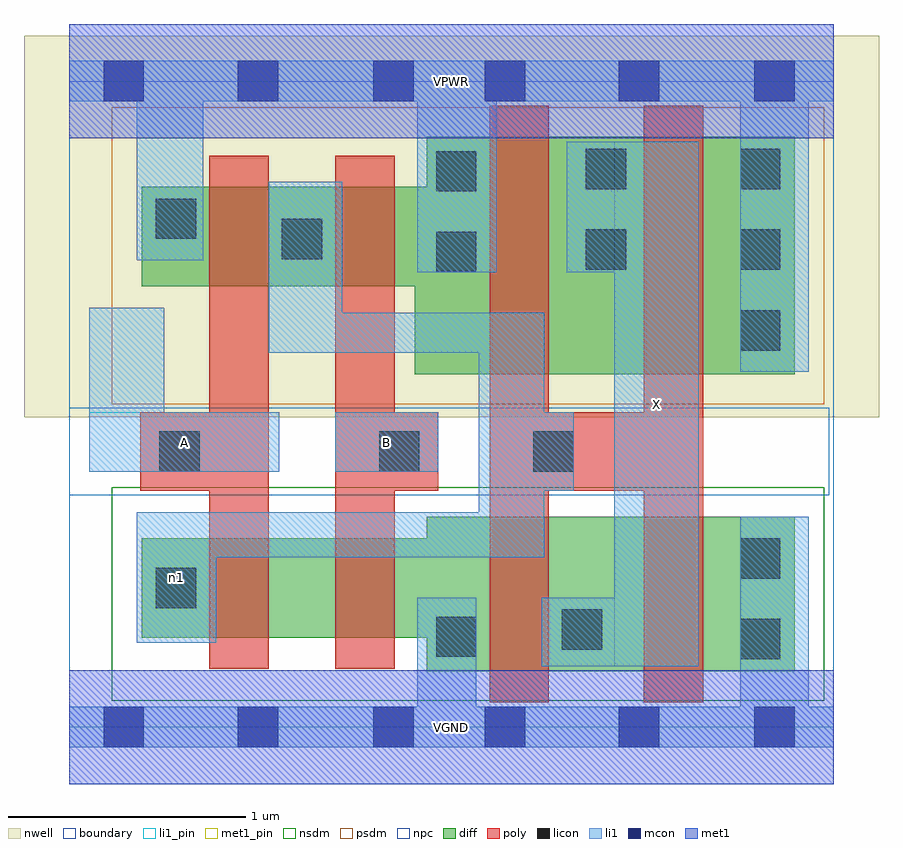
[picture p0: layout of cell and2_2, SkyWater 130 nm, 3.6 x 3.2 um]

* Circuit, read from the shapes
.subckt and2_2 A B VGND VPWR X n1
XM1 n2 A n1 VSUBS sky130_fd_pr__nfet_01v8 w=0.42 l=0.25
XM2 VGND B n2 VSUBS sky130_fd_pr__nfet_01v8 w=0.42 l=0.25
XM3 X n1 VGND VSUBS sky130_fd_pr__nfet_01v8 w=0.65 l=0.25 m=2
XM4 n1 A VPWR n3 sky130_fd_pr__pfet_01v8 w=0.42 l=0.25
XM5 VPWR B n1 n3 sky130_fd_pr__pfet_01v8 w=0.42 l=0.25
XM6 X n1 VPWR n3 sky130_fd_pr__pfet_01v8 w=1 l=0.25 m=2
.ends

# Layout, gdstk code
import gdstk
lib = gdstk.Library(unit=1e-6, precision=1e-09)
def R(c, l, rs):  # rectangles x0, y0, x1, y1
    for r in rs: c.add(gdstk.rectangle(r[:2], r[2:], *l))
def A(c, l, x, y, w, h, nx, ny, dx, dy):  # array of equal rectangles
    R(c, l, [(x+i*dx, y+j*dy, x+i*dx+w, y+j*dy+h) for i in range(nx) for j in range(ny)])
nwell = (64, 20)
diff = (65, 20)
poly = (66, 20)
licon = (66, 44)
li1_pin = (67, 16)
li1 = (67, 20)
mcon = (67, 44)
met1_pin = (68, 16)
met1 = (68, 20)
nsdm = (93, 44)
psdm = (94, 20)
npc = (95, 20)
boundary = (235, 4)

and2_2 = lib.new_cell('and2_2')
R(and2_2, nwell, [(-0.19,1.305,3.41,2.91), (0,1.305,3.22,2.91)])
R(and2_2, diff, [(1.505,0.235,3.055,0.885), (0.305,0.375,3.055,0.795), (1.455,1.485,3.055,2.275), (1.505,1.485,3.055,2.485), (0.305,1.855,3.055,2.275)])
R(and2_2, poly, [(1.77,0.105,2.02,2.615), (2.42,0.105,2.67,2.615), (0.59,0.245,0.84,2.405), (1.12,0.245,1.37,2.405), (0.3,0.995,0.84,1.325), (1.12,0.995,1.555,1.325), (1.77,0.995,2.67,1.325)])
A(and2_2, licon, 2.825, 1.585, 0.17, 0.17, 1, 3, 0, 0.34)
R(and2_2, licon, [(2.825,0.285,2.995,0.455), (1.545,0.295,1.715,0.465), (2.075,0.325,2.245,0.495), (0.365,0.5,0.535,0.67), (2.825,0.625,2.995,0.795), (0.38,1.075,0.55,1.245), (1.305,1.075,1.475,1.245), (1.955,1.075,2.125,1.245), (1.545,1.915,1.715,2.085), (2.175,1.925,2.345,2.095), (0.895,1.97,1.065,2.14), (0.365,2.055,0.535,2.225), (1.545,2.255,1.715,2.425), (2.175,2.265,2.345,2.435)])
R(and2_2, li1_pin, [(2.295,0.255,2.65,2.465), (0.085,1.075,0.885,1.325), (1.12,1.075,1.555,1.325)])
R(and2_2, li1, [(0,-0.085,3.22,0.085), (1.465,-0.085,1.715,0.545), (2.825,-0.085,3.115,0.885), (1.99,0.255,2.65,0.545), (2.295,0.255,2.65,2.465), (0.285,0.355,0.62,0.905), (0.285,0.715,2,0.905), (1.725,0.715,2,1.745), (1.725,0.995,2.125,1.325), (0.085,1.075,0.4,1.765), (0.085,1.075,0.885,1.325), (1.12,1.075,1.555,1.325), (2.825,1.495,3.115,2.805), (0.84,1.575,1.15,2.295), (0.84,1.575,2,1.745), (1.465,1.915,1.8,2.805), (2.095,1.915,2.65,2.465), (0.285,1.965,0.565,2.805), (0,2.635,3.22,2.805)])
R(and2_2, mcon, [(0.145,-0.085,0.315,0.085), (0.71,-0.085,0.88,0.085), (1.28,-0.085,1.45,0.085), (1.75,-0.085,1.92,0.085), (2.315,-0.085,2.485,0.085), (2.885,-0.085,3.055,0.085), (0.145,2.635,0.315,2.805), (0.71,2.635,0.88,2.805), (1.28,2.635,1.45,2.805), (1.75,2.635,1.92,2.805), (2.315,2.635,2.485,2.805), (2.885,2.635,3.055,2.805)])
R(and2_2, met1_pin, [(0,-0.24,3.22,0.24), (0,2.48,3.22,2.96)])
R(and2_2, met1, [(0,-0.24,3.22,0.24), (0,2.48,3.22,2.96)])
R(and2_2, nsdm, [(0.18,0.11,3.18,1.01)])
R(and2_2, psdm, [(0.18,1.36,3.18,2.61)])
R(and2_2, npc, [(0,0.975,3.2,1.345)])
R(and2_2, boundary, [(0,0,3.22,2.72)])
and2_2.add(gdstk.Label('A', (0.485,1.2), layer=67, texttype=5))
and2_2.add(gdstk.Label('B', (1.337,1.2), layer=67, texttype=5))
and2_2.add(gdstk.Label('X', (2.472,1.36), layer=67, texttype=5))
and2_2.add(gdstk.Label('n1', (0.452,0.63), layer=67, texttype=5))
and2_2.add(gdstk.Label('VPWR', (1.61,2.72), layer=68, texttype=5))
and2_2.add(gdstk.Label('VGND', (1.61,0), layer=68, texttype=5))
and2_2.add(gdstk.Label('A', (0.485,1.2), layer=67, texttype=16))
and2_2.add(gdstk.Label('B', (1.337,1.2), layer=67, texttype=16))
and2_2.add(gdstk.Label('X', (2.472,1.36), layer=67, texttype=16))
and2_2.add(gdstk.Label('VPWR', (1.61,2.72), layer=68, texttype=16))
and2_2.add(gdstk.Label('VGND', (1.61,0), layer=68, texttype=16))

lib.write_gds('and2_2.gds')
